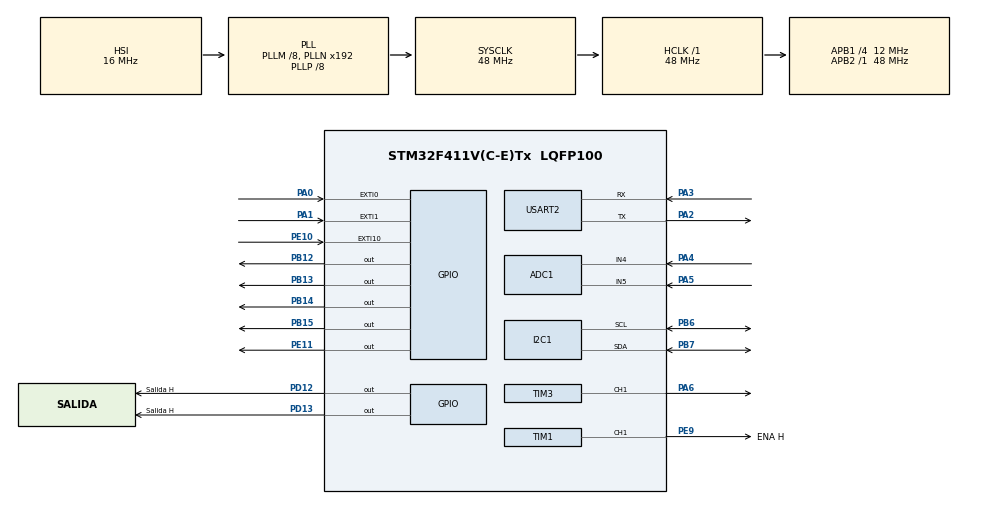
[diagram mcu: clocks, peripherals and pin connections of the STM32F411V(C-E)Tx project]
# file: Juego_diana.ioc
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ADC1.Channel-0\#ChannelRegularConversion=ADC_CHANNEL_4
ADC1.Channel-1\#ChannelRegularConversion=ADC_CHANNEL_5
ADC1.ContinuousConvMode=ENABLE
ADC1.DMAContinuousRequests=DISABLE
ADC1.NbrOfConversion=2
ADC1.NbrOfConversionFlag=1
ADC1.Rank-0\#ChannelRegularConversion=1
ADC1.Rank-1\#ChannelRegularConversion=2
ADC1.SamplingTime-0\#ChannelRegularConversion=ADC_SAMPLETIME_3CYCLES
ADC1.SamplingTime-1\#ChannelRegularConversion=ADC_SAMPLETIME_3CYCLES
ADC1.master=1
Dma.ADC1.0.Direction=DMA_PERIPH_TO_MEMORY
Dma.ADC1.0.FIFOMode=DMA_FIFOMODE_DISABLE
Dma.ADC1.0.Instance=DMA2_Stream0
Dma.ADC1.0.MemDataAlignment=DMA_MDATAALIGN_WORD
Dma.ADC1.0.MemInc=DMA_MINC_ENABLE
Dma.ADC1.0.Mode=DMA_CIRCULAR
Dma.ADC1.0.PeriphDataAlignment=DMA_PDATAALIGN_WORD
Dma.ADC1.0.PeriphInc=DMA_PINC_DISABLE
Dma.ADC1.0.Priority=DMA_PRIORITY_LOW
Dma.Request0=ADC1
Mcu.Family=STM32F4
Mcu.Name=STM32F411V(C-E)Tx
Mcu.Package=LQFP100
NVIC.DMA2_Stream0_IRQn=true\:0\:0\:false\:false\:true\:false\:true\:true
NVIC.EXTI0_IRQn=true\:0\:0\:false\:false\:true\:true\:true\:true
NVIC.EXTI15_10_IRQn=true\:0\:0\:false\:false\:true\:true\:true\:true
NVIC.EXTI1_IRQn=true\:0\:0\:false\:false\:true\:true\:true\:true
NVIC.PriorityGroup=NVIC_PRIORITYGROUP_0
PA0-WKUP.Signal=GPXTI0
PA1.GPIO_PuPd=GPIO_PULLUP
PA1.Signal=GPXTI1
PA2.Mode=Asynchronous
PA2.Signal=USART2_TX
PA3.Mode=Asynchronous
PA3.Signal=USART2_RX
PA4.Signal=ADCx_IN4
PA5.Signal=ADCx_IN5
PA6.Signal=S_TIM3_CH1
PB12.Signal=GPIO_Output
PB13.Signal=GPIO_Output
PB14.Signal=GPIO_Output
PB15.Signal=GPIO_Output
PB6.Mode=I2C
PB6.Signal=I2C1_SCL
PB7.Mode=I2C
PB7.Signal=I2C1_SDA
PD12.GPIO_Label=Salida H
PD12.Signal=GPIO_Output
PD13.GPIO_Label=Salida H
PD13.Signal=GPIO_Output
PE10.GPIO_ModeDefaultEXTI=GPIO_MODE_IT_RISING_FALLING
PE10.GPIO_PuPd=GPIO_PULLUP
PE10.Signal=GPXTI10
PE11.Signal=GPIO_Output
PE9.GPIO_Label=ENA H
PE9.Signal=S_TIM1_CH1
ProjectManager.HeapSize=0x200
ProjectManager.StackSize=0x400
ProjectManager.TargetToolchain=STM32CubeIDE
RCC.48MHZClocksFreq_Value=48000000
RCC.AHBFreq_Value=48000000
RCC.APB1CLKDivider=RCC_HCLK_DIV4
RCC.APB1Freq_Value=12000000
RCC.APB1TimFreq_Value=24000000
RCC.APB2Freq_Value=48000000
RCC.APB2TimFreq_Value=48000000
RCC.CortexFreq_Value=48000000
RCC.HCLKFreq_Value=48000000
RCC.HSE_VALUE=8000000
RCC.HSI_VALUE=16000000
RCC.LSE_VALUE=32768
RCC.PLLI2SM=5
RCC.PLLI2SN=200
RCC.PLLM=8
RCC.PLLP=RCC_PLLP_DIV8
RCC.PLLQ=8
RCC.SYSCLKFreq_VALUE=48000000
RCC.SYSCLKSource=RCC_SYSCLKSOURCE_PLLCLK
RCC.VCOOutputFreq_Value=384000000
SH.ADCx_IN4.0=ADC1_IN4,IN4
SH.ADCx_IN5.0=ADC1_IN5,IN5
SH.S_TIM1_CH1.0=TIM1_CH1,PWM Generation1 CH1
SH.S_TIM3_CH1.0=TIM3_CH1,PWM Generation1 CH1
TIM1.Channel-PWM\ Generation1\ CH1=TIM_CHANNEL_1
TIM1.Period=999
TIM1.Prescaler=47
TIM3.Channel-PWM\ Generation1\ CH1=TIM_CHANNEL_1
TIM3.Period=19999
TIM3.Prescaler=23
USART2.VirtualMode=VM_ASYNC
VP_TIM1_VS_ClockSourceINT.Mode=Internal
VP_TIM3_VS_ClockSourceINT.Mode=Internal
board=STM32F411E-DISCO

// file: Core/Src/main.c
/* USER CODE BEGIN Header */
/**
  ******************************************************************************
  * @file           : main.c
  * @brief          : Main program body
  ******************************************************************************
  * @attention
  *
  * Copyright (c) 2026 STMicroelectronics.
  * All rights reserved.
  *
  * This software is licensed under terms that can be found in the LICENSE file
  * in the root directory of this software component.
  * If no LICENSE file comes with this software, it is provided AS-IS.
  *
  ******************************************************************************
  */
/* USER CODE END Header */
#include "main.h"

/* USER CODE BEGIN Includes */
#include "i2c_lcd.h"
#include <stdio.h>
#include <string.h>

/* USER CODE END Includes */

/* USER CODE BEGIN PD */
#define SLAVE_ADDRESS_LCD 0x4E
#define TIMESUP_MS 5000
#define BRILLO_lim 1500 //cuando recibe luz del laser marca unos 150, en condiciones normales puede marcar entre 700 y 1400
#define NIVEL_MAX 3
#define PANTALLAS_S4 3

/* USER CODE END PD */

ADC_HandleTypeDef hadc1;
DMA_HandleTypeDef hdma_adc1;

I2C_HandleTypeDef hi2c1;

TIM_HandleTypeDef htim1;
TIM_HandleTypeDef htim3;

UART_HandleTypeDef huart2;

/* USER CODE BEGIN PV */

extern I2C_HandleTypeDef hi2c1;
extern ADC_HandleTypeDef hadc1;
extern TIM_HandleTypeDef htim1; // Puente H (Diana)
extern TIM_HandleTypeDef htim3; // Servo (Torreta)

typedef enum {
    S0, //"reposo"
    S1, //"inicio de juego. espera a un START"
	S2, //"3...2...1" y en caso de que antes se haya fallado o acertado manda mensaje
	S3,//"Motor". comienza a girar el motor?? y comienza también la cuenta atrás
	S4 //"Enhorabuena!"
} Estado_t;

typedef enum{
	Ninguno,
	Azul,
	Externo
} Botones_t;

Botones_t boton_pulsado;

volatile Estado_t estado_actual = S0; //volatile pq va variando
volatile int highscore=0; //puntuacion maxima

volatile uint32_t tiempo_inicio = 0;
volatile int paso_cuenta = 0;

volatile int fallo_acierto=0; //podra ser -1 (fallo), 0 (inicio) o 1 (acierto)

volatile uint32_t tiempo_inicio_motor = 0;
volatile uint8_t flag_motor_empieza = 0;

//valores para la parte de fotodiodo
volatile uint32_t valor_adc[2]; // [0] = LDR, [1] = Joystick
volatile uint32_t valor_ldr = 0;
volatile uint32_t valor_joystick = 0;
volatile uint8_t detectado = 0;

//variable para los niveles
volatile int nivel=0;

//variables para el highest score
volatile uint32_t tiempo_partida=0; //el tiempo actual de la partida
volatile uint32_t mejor_tiempo=1000000; //uno alto que se supere seguro
volatile int pantalla_final;

/* USER CODE END PV */

void SystemClock_Config(void);
static void MX_GPIO_Init(void);
static void MX_DMA_Init(void);
static void MX_I2C1_Init(void);
static void MX_ADC1_Init(void);
static void MX_TIM1_Init(void);
static void MX_USART2_UART_Init(void);
static void MX_TIM3_Init(void);
/* USER CODE BEGIN PFP */

void Cambio_de_Estados(Botones_t boton_pulsado);
void Reset_S1();
uint32_t Comparar_Tiempos();

/* USER CODE END PFP */

/* USER CODE BEGIN 0 */

void lcd_send_cmd (char cmd)
{
    char data_u, data_l;
    data_u = (cmd & 0xF0);           // extract upper 4 bits
    data_l = ((cmd << 4) & 0xF0);    // extract lower 4 bits

    uint8_t data_t[4];

    // send upper 4 bits with enable pulse
    data_t[0] = data_u | 0x0C;   // EN=1, RS=0  -> bxxxx1100
    data_t[1] = data_u | 0x08;   // EN=0, RS=0  -> bxxxx1000

    // send lower 4 bits with enable pulse
    data_t[2] = data_l | 0x0C;   // EN=1, RS=0  -> bxxxx1100
    data_t[3] = data_l | 0x08;   // EN=0, RS=0  -> bxxxx1000

    HAL_I2C_Master_Transmit(&hi2c1, SLAVE_ADDRESS_LCD, (uint8_t *) data_t, 4, 100);
}

void lcd_send_data (char data)
{
	char data_u, data_l;
	uint8_t data_t[4];
	data_u = (data&0xf0);
	data_l = ((data<<4)&0xf0);
	data_t[0] = data_u|0x0D;  //en=1, rs=1 -> bxxxx1101
	data_t[1] = data_u|0x09;  //en=0, rs=1 -> bxxxx1001
	data_t[2] = data_l|0x0D;  //en=1, rs=1 -> bxxxx1101
	data_t[3] = data_l|0x09;  //en=0, rs=1 -> bxxxx1001
	HAL_I2C_Master_Transmit (&hi2c1, SLAVE_ADDRESS_LCD,(uint8_t *) data_t, 4, 100);
}

void lcd_init (void)
{
  // 4 bit initialisation
  HAL_Delay(50);  // wait for >40ms
  lcd_send_cmd (0x30);
  HAL_Delay(5);  // wait for >4.1ms
  lcd_send_cmd (0x30);
  HAL_Delay(1);  // wait for >100us
  lcd_send_cmd (0x30);
  HAL_Delay(10);
  lcd_send_cmd (0x20);  // 4bit mode
  HAL_Delay(10);

  // display initialisation
  lcd_send_cmd (0x28); // Function set --> DL=0 (4 bit mode), N = 1 (2 line display) F = 0 (5x8 characters)
  HAL_Delay(1);
  lcd_send_cmd (0x08); //Display on/off control --> D=0,C=0, B=0  ---> display off
  HAL_Delay(1);
  lcd_send_cmd (0x01);  // clear display
  HAL_Delay(2);
  lcd_send_cmd (0x06); //Entry mode set --> I/D = 1 (increment cursor) & S = 0 (no shift)
  HAL_Delay(1);
  lcd_send_cmd (0x0C); //Display on/off control --> D = 1, C and B = 0. (Cursor and blink, last two bits)
}

void lcd_send_string (char *str)
{
  while (*str) lcd_send_data (*str++);
}

void lcd_put_cur(int row, int col)
{
    switch (row)
    {
        case 0:
            col |= 0x80;
            break;
        case 1:
            col |= 0xC0;
            break;
    }
    lcd_send_cmd (col);
}

void lcd_clear (void)
{
	lcd_send_cmd (0x01);
	HAL_Delay(2);
}

void HAL_GPIO_EXTI_Callback(uint16_t GPIO_Pin) {

	static uint32_t last_tick_azul = 0;
	static uint32_t last_tick_externo = 0;

	if (GPIO_Pin == GPIO_PIN_0) {
	        if (HAL_GetTick() - last_tick_azul > 250) { //antirrebote del boton
	        	Cambio_de_Estados(Azul);
	        	last_tick_azul = HAL_GetTick();
	        }
	}

	if (GPIO_Pin == GPIO_PIN_1) { //boton externo
		        if (HAL_GetTick() - last_tick_externo > 250) { //antirrebote del boton
		        	Cambio_de_Estados(Externo);
		        	last_tick_externo = HAL_GetTick();
		        }
		}

	if (GPIO_Pin == GPIO_PIN_10) {
		if (HAL_GPIO_ReadPin(GPIOE, GPIO_PIN_10) == GPIO_PIN_RESET) {
		            HAL_GPIO_WritePin(GPIOE, GPIO_PIN_11, GPIO_PIN_SET);   // Láser ON
		        } else {
		            HAL_GPIO_WritePin(GPIOE, GPIO_PIN_11, GPIO_PIN_RESET); // Láser OFF
		        }
	}
}

void Cambio_de_Estados(Botones_t boton_pulsado){

	switch(estado_actual){
	case S0:
		//cualquier boton llama al cambio
		estado_actual=S1;
		break;
	case S1:
		if(boton_pulsado == Externo) estado_actual=S2;
		break;
	case S2:
		if(boton_pulsado == Azul) estado_actual=S1;
		else if (boton_pulsado == Ninguno)estado_actual=S3;
		break;
	case S3:
		if(boton_pulsado == Azul) estado_actual=S1;
		else if(boton_pulsado == Ninguno && nivel == NIVEL_MAX) estado_actual= S4; //igual que o mayor que?
		else if(boton_pulsado == Ninguno) estado_actual =S2;
		break;
	case S4:
		if(boton_pulsado == Azul) estado_actual=S1;
		else if(boton_pulsado == Externo && pantalla_final <PANTALLAS_S4) pantalla_final ++;
		break;
	}
}

void Acciones_Estados(){

	//char buffer[20]; //la voy a borrar seguramente

	switch (estado_actual) {
		          case S0:
		              lcd_put_cur(0, 0);
		              lcd_send_string("apagado...");
		              lcd_put_cur(1, 0);
		              lcd_send_string("***");

		              break;

		          case S1:
		        	  lcd_put_cur(0,0);
		        	  lcd_send_string("*.*.*.Tiro.*.*.*");
		        	  lcd_put_cur(1,0);
		        	  lcd_send_string("*.*a la diana*.*");

		        	  break;
		          case S2:

		        	  if (paso_cuenta == 0) {
		        		  lcd_clear();
		        		  lcd_put_cur(0,0);

		        		  if(fallo_acierto==1) lcd_send_string("Acertaste!");
		        		  else if(fallo_acierto==-1) lcd_send_string("Fallaste!");
		        		  lcd_put_cur(1,0);
		        		  lcd_send_string("3...");
		        		  tiempo_inicio = HAL_GetTick();
		        		  paso_cuenta = 3;
		        	  }
		        	 if(HAL_GetTick() - tiempo_inicio >=1000){
		        		 tiempo_inicio= HAL_GetTick();
		        		 if (paso_cuenta == 3) {
		        			 lcd_send_string("2...");
		        			 tiempo_inicio = HAL_GetTick();
		        			 paso_cuenta = 2;
		        		 }
		        		 else if (paso_cuenta == 2) {
		        			 lcd_send_string("1...");
		        			 tiempo_inicio = HAL_GetTick();
		        			 paso_cuenta = 1;
		        			 HAL_GPIO_WritePin(GPIOD, GPIO_PIN_12, SET);   // IN1
		        			 HAL_GPIO_WritePin(GPIOD, GPIO_PIN_13, RESET); // IN2
		        			 HAL_GPIO_WritePin(GPIOB, GPIO_PIN_15, RESET);
		        			 if(nivel == 0){
		        			 __HAL_TIM_SET_COMPARE(&htim1, TIM_CHANNEL_1, 0);
		        			 HAL_GPIO_WritePin(GPIOB, GPIO_PIN_12, SET);
		        			 }
		        			 if(nivel == 1){
		        			 __HAL_TIM_SET_COMPARE(&htim1, TIM_CHANNEL_1, 300);
		        			 HAL_GPIO_WritePin(GPIOB, GPIO_PIN_12, SET);
		        			 HAL_GPIO_WritePin(GPIOB, GPIO_PIN_13, SET);
		        			 }
		        			 if(nivel == 2){
			        	     __HAL_TIM_SET_COMPARE(&htim1, TIM_CHANNEL_1, 800);
			        	     HAL_GPIO_WritePin(GPIOB, GPIO_PIN_12, SET);
			        	     HAL_GPIO_WritePin(GPIOB, GPIO_PIN_13, SET);
			        	   	 HAL_GPIO_WritePin(GPIOB, GPIO_PIN_14, SET);
		        			 }
		        		 }
		        		 else if (paso_cuenta == 1) {
		        			 lcd_clear();
		        			 paso_cuenta = 0;

		        			 //cambiar luego
		        			 Cambio_de_Estados(Ninguno);
		        		 }

		        	 }

		        	 break;

		          case S3:

		        	  if(flag_motor_empieza==0){
		        		  lcd_clear();
		        		  lcd_put_cur(0,0);
		        		  lcd_send_string("tiempo-------->");

		        		  tiempo_inicio_motor=HAL_GetTick();
		        		  flag_motor_empieza=1; // aqui o mejor en el anterior?

		        	  }

		        	  uint32_t tiempo = HAL_GetTick();
		        	  uint32_t transcurrido = tiempo - tiempo_inicio_motor;
		        	  if(transcurrido < TIMESUP_MS){
		        		  char buf[10];
		        		  uint32_t segundos_restantes = (TIMESUP_MS - transcurrido) / 1000;
		        		  lcd_put_cur(1, 0);
		        		  sprintf(buf, "%lu s  ", (segundos_restantes+1));
		        		  lcd_send_string(buf);

		        		  //acierto en la diana
		        		  if(valor_ldr < BRILLO_lim){
		        			  detectado =1;
		        			  fallo_acierto = 1;
		        			  flag_motor_empieza=0;
		        			  fallo_acierto=1;
		        			  tiempo_partida += transcurrido;
		        			  nivel++;
		        			  HAL_GPIO_WritePin(GPIOD, GPIO_PIN_12, RESET);
		                 	  HAL_GPIO_WritePin(GPIOD, GPIO_PIN_13, RESET);
		        			  Cambio_de_Estados(Ninguno);
		        		  }

		        	  }
		        	  else {
		        		  flag_motor_empieza = 0;
		        		  fallo_acierto=-1;
		        		  tiempo_partida += transcurrido;
		        		  nivel=0; //que se reinicie cuando falles que si no es muy facil
		        		  HAL_GPIO_WritePin(GPIOD, GPIO_PIN_12, RESET);
		        		  HAL_GPIO_WritePin(GPIOD, GPIO_PIN_13, RESET);

		        		  HAL_GPIO_WritePin(GPIOB, GPIO_PIN_15, SET);
		        		  HAL_GPIO_WritePin(GPIOB, GPIO_PIN_12, RESET);
		        		  HAL_GPIO_WritePin(GPIOB, GPIO_PIN_13, RESET);
		        		  HAL_GPIO_WritePin(GPIOB, GPIO_PIN_14, RESET);
		        		  Cambio_de_Estados(Ninguno);
		        	  }

		        	  break;
		          case S4:
		        	  char puntuacion[16];
		        	  char mejor_puntuacion[16];
		        	  float t_partida = (float)tiempo_partida/1000.0f;
		        	  float mejor_t = (float)mejor_tiempo/1000.0f;
		        	  sprintf(puntuacion, "Tiempo: %.1fs   ", t_partida);
		        	  sprintf(mejor_puntuacion, "Record: %.1fs   ", mejor_t);

		        	  switch(pantalla_final){

		        	  case 0:
		        		  lcd_put_cur(0,0);
		        		  lcd_send_string("*.*.*.*.*.*.*.*");
		        		  lcd_put_cur(1,0);
		        		  lcd_send_string("--ENHORABUENA--");
		        		  break;
		        	  case 1:
		        		  lcd_put_cur(0,0);
		        		  lcd_send_string("--ENHORABUENA--");
		        		  lcd_put_cur(1,0);
		        		  lcd_send_string(puntuacion);
		        		  break;
		        	  case 2:
		        		  lcd_put_cur(0,0);
		        		  lcd_send_string(puntuacion);
		        		  lcd_put_cur(1,0);
		        		  lcd_send_string(mejor_puntuacion);
		        		  break;

		        	  break;

		        	  }

		      }
}

void Reset_S1(){
	//en S1 se hace una limpieza de los valores de las variables
	paso_cuenta=0;
	fallo_acierto=0;
	detectado=0;
	nivel=0;
	flag_motor_empieza=0;
	tiempo_partida=0;
	pantalla_final=0;
	__HAL_TIM_SET_COMPARE(&htim1, TIM_CHANNEL_1, 0);
	HAL_GPIO_WritePin(GPIOD, GPIO_PIN_12, RESET);
	HAL_GPIO_WritePin(GPIOD, GPIO_PIN_13, RESET);

	// Apagar todos los LEDs
	    HAL_GPIO_WritePin(GPIOB, GPIO_PIN_12, RESET); // Verde 1
	    HAL_GPIO_WritePin(GPIOB, GPIO_PIN_13, RESET); // Verde 2
	    HAL_GPIO_WritePin(GPIOB, GPIO_PIN_14, RESET); // Verde 3
	    HAL_GPIO_WritePin(GPIOB, GPIO_PIN_15, RESET); // Rojo
}

uint32_t Comparar_Tiempos(){

	if(tiempo_partida < mejor_tiempo)
		mejor_tiempo= tiempo_partida;

	return mejor_tiempo;
}

/* USER CODE END 0 */

int main(void)
{

  /* MCU Configuration--------------------------------------------------------*/

  /* Reset of all peripherals, Initializes the Flash interface and the Systick. */
  HAL_Init();

  /* Configure the system clock */
  SystemClock_Config();

  /* Initialize all configured peripherals */
  MX_GPIO_Init();
  MX_DMA_Init();
  MX_I2C1_Init();
  MX_ADC1_Init();
  MX_TIM1_Init();
  MX_USART2_UART_Init();
  MX_TIM3_Init();
  /* USER CODE BEGIN 2 */

  HAL_ADC_Stop_DMA(&hadc1);//fuerzo parada por si habia bloqueos
  HAL_TIM_PWM_Start(&htim1, TIM_CHANNEL_1); // Motor Diana
  HAL_TIM_PWM_Start(&htim3, TIM_CHANNEL_1); // Servo Torreta Laser
  //arranco el adc en modo dma para que apunte al valor medido
  if (HAL_ADC_Start_DMA(&hadc1, (uint32_t*)&valor_adc, 2) != HAL_OK){
	  Error_Handler();
  }

  // Iniciar lcd
  lcd_init ();
  lcd_clear();
  static Estado_t estado_anterior = -1; //es -1 para que no valga ninguno de mis estados

  /* USER CODE END 2 */

  /* Infinite loop */
  while (1)
  {

    /* USER CODE BEGIN 3 */

	  //anti bloqueo del adc
	  if (__HAL_ADC_GET_FLAG(&hadc1, ADC_FLAG_OVR)) {
	            __HAL_ADC_CLEAR_FLAG(&hadc1, ADC_FLAG_OVR);
	            HAL_ADC_Stop_DMA(&hadc1);
	            HAL_ADC_Start_DMA(&hadc1, (uint32_t*)&valor_adc, 2);
	        }

	  valor_ldr = valor_adc[0];      // Rank 1: LDR (Diana)
	  valor_joystick = valor_adc[1]; // Rank 2: Joystick
	  //printf("LDR: %lu | Joystick: %lu\r\n", valor_ldr, valor_joystick);
	  uint32_t pwm_servo = 500 + ((valor_joystick * 2000) / 4095);
	  __HAL_TIM_SET_COMPARE(&htim3, TIM_CHANNEL_1, pwm_servo);

	  if (estado_actual != estado_anterior) {
	      lcd_clear();//para limpiar la pantalla

	      if(estado_actual == S1) Reset_S1(); //lo llamo desde aqui
	      if (estado_actual == S2) paso_cuenta = 0;

	      if(estado_actual == S4) Comparar_Tiempos();

	      estado_anterior = estado_actual;
	  }

      Acciones_Estados();

      HAL_Delay(20); //maybe lo cambiare

  }
  /* USER CODE END 3 */
}

void SystemClock_Config(void)
{
  RCC_OscInitTypeDef RCC_OscInitStruct = {0};
  RCC_ClkInitTypeDef RCC_ClkInitStruct = {0};

  /** Configure the main internal regulator output voltage
  */
  __HAL_RCC_PWR_CLK_ENABLE();
  __HAL_PWR_VOLTAGESCALING_CONFIG(PWR_REGULATOR_VOLTAGE_SCALE1);

  /** Initializes the RCC Oscillators according to the specified parameters
  * in the RCC_OscInitTypeDef structure.
  */
  RCC_OscInitStruct.OscillatorType = RCC_OSCILLATORTYPE_HSI;
  RCC_OscInitStruct.HSIState = RCC_HSI_ON;
  RCC_OscInitStruct.HSICalibrationValue = RCC_HSICALIBRATION_DEFAULT;
  RCC_OscInitStruct.PLL.PLLState = RCC_PLL_ON;
  RCC_OscInitStruct.PLL.PLLSource = RCC_PLLSOURCE_HSI;
  RCC_OscInitStruct.PLL.PLLM = 8;
  RCC_OscInitStruct.PLL.PLLN = 192;
  RCC_OscInitStruct.PLL.PLLP = RCC_PLLP_DIV8;
  RCC_OscInitStruct.PLL.PLLQ = 8;
  if (HAL_RCC_OscConfig(&RCC_OscInitStruct) != HAL_OK)
  {
    Error_Handler();
  }

  /** Initializes the CPU, AHB and APB buses clocks
  */
  RCC_ClkInitStruct.ClockType = RCC_CLOCKTYPE_HCLK|RCC_CLOCKTYPE_SYSCLK
                              |RCC_CLOCKTYPE_PCLK1|RCC_CLOCKTYPE_PCLK2;
  RCC_ClkInitStruct.SYSCLKSource = RCC_SYSCLKSOURCE_PLLCLK;
  RCC_ClkInitStruct.AHBCLKDivider = RCC_SYSCLK_DIV1;
  RCC_ClkInitStruct.APB1CLKDivider = RCC_HCLK_DIV4;
  RCC_ClkInitStruct.APB2CLKDivider = RCC_HCLK_DIV1;

  if (HAL_RCC_ClockConfig(&RCC_ClkInitStruct, FLASH_LATENCY_1) != HAL_OK)
  {
    Error_Handler();
  }
}

static void MX_ADC1_Init(void)
{

  ADC_ChannelConfTypeDef sConfig = {0};

  /** Configure the global features of the ADC (Clock, Resolution, Data Alignment and number of conversion)
  */
  hadc1.Instance = ADC1;
  hadc1.Init.ClockPrescaler = ADC_CLOCK_SYNC_PCLK_DIV2;
  hadc1.Init.Resolution = ADC_RESOLUTION_12B;
  hadc1.Init.ScanConvMode = ENABLE;
  hadc1.Init.ContinuousConvMode = ENABLE;
  hadc1.Init.DiscontinuousConvMode = DISABLE;
  hadc1.Init.ExternalTrigConvEdge = ADC_EXTERNALTRIGCONVEDGE_NONE;
  hadc1.Init.ExternalTrigConv = ADC_SOFTWARE_START;
  hadc1.Init.DataAlign = ADC_DATAALIGN_RIGHT;
  hadc1.Init.NbrOfConversion = 2;
  hadc1.Init.DMAContinuousRequests = DISABLE;
  hadc1.Init.EOCSelection = ADC_EOC_SINGLE_CONV;
  if (HAL_ADC_Init(&hadc1) != HAL_OK)
  {
    Error_Handler();
  }

  /** Configure for the selected ADC regular channel its corresponding rank in the sequencer and its sample time.
  */
  sConfig.Channel = ADC_CHANNEL_4;
  sConfig.Rank = 1;
  sConfig.SamplingTime = ADC_SAMPLETIME_3CYCLES;
  if (HAL_ADC_ConfigChannel(&hadc1, &sConfig) != HAL_OK)
  {
    Error_Handler();
  }

  /** Configure for the selected ADC regular channel its corresponding rank in the sequencer and its sample time.
  */
  sConfig.Channel = ADC_CHANNEL_5;
  sConfig.Rank = 2;
  if (HAL_ADC_ConfigChannel(&hadc1, &sConfig) != HAL_OK)
  {
    Error_Handler();
  }

}

static void MX_I2C1_Init(void)
{

  hi2c1.Instance = I2C1;
  hi2c1.Init.ClockSpeed = 100000;
  hi2c1.Init.DutyCycle = I2C_DUTYCYCLE_2;
  hi2c1.Init.OwnAddress1 = 0;
  hi2c1.Init.AddressingMode = I2C_ADDRESSINGMODE_7BIT;
  hi2c1.Init.DualAddressMode = I2C_DUALADDRESS_DISABLE;
  hi2c1.Init.OwnAddress2 = 0;
  hi2c1.Init.GeneralCallMode = I2C_GENERALCALL_DISABLE;
  hi2c1.Init.NoStretchMode = I2C_NOSTRETCH_DISABLE;
  if (HAL_I2C_Init(&hi2c1) != HAL_OK)
  {
    Error_Handler();
  }

}

static void MX_TIM1_Init(void)
{

  TIM_ClockConfigTypeDef sClockSourceConfig = {0};
  TIM_MasterConfigTypeDef sMasterConfig = {0};
  TIM_OC_InitTypeDef sConfigOC = {0};
  TIM_BreakDeadTimeConfigTypeDef sBreakDeadTimeConfig = {0};

  htim1.Instance = TIM1;
  htim1.Init.Prescaler = 47;
  htim1.Init.CounterMode = TIM_COUNTERMODE_UP;
  htim1.Init.Period = 999;
  htim1.Init.ClockDivision = TIM_CLOCKDIVISION_DIV1;
  htim1.Init.RepetitionCounter = 0;
  htim1.Init.AutoReloadPreload = TIM_AUTORELOAD_PRELOAD_DISABLE;
  if (HAL_TIM_Base_Init(&htim1) != HAL_OK)
  {
    Error_Handler();
  }
  sClockSourceConfig.ClockSource = TIM_CLOCKSOURCE_INTERNAL;
  if (HAL_TIM_ConfigClockSource(&htim1, &sClockSourceConfig) != HAL_OK)
  {
    Error_Handler();
  }
  if (HAL_TIM_PWM_Init(&htim1) != HAL_OK)
  {
    Error_Handler();
  }
  sMasterConfig.MasterOutputTrigger = TIM_TRGO_RESET;
  sMasterConfig.MasterSlaveMode = TIM_MASTERSLAVEMODE_DISABLE;
  if (HAL_TIMEx_MasterConfigSynchronization(&htim1, &sMasterConfig) != HAL_OK)
  {
    Error_Handler();
  }
  sConfigOC.OCMode = TIM_OCMODE_PWM1;
  sConfigOC.Pulse = 0;
  sConfigOC.OCPolarity = TIM_OCPOLARITY_HIGH;
  sConfigOC.OCNPolarity = TIM_OCNPOLARITY_HIGH;
  sConfigOC.OCFastMode = TIM_OCFAST_DISABLE;
  sConfigOC.OCIdleState = TIM_OCIDLESTATE_RESET;
  sConfigOC.OCNIdleState = TIM_OCNIDLESTATE_RESET;
  if (HAL_TIM_PWM_ConfigChannel(&htim1, &sConfigOC, TIM_CHANNEL_1) != HAL_OK)
  {
    Error_Handler();
  }
  sBreakDeadTimeConfig.OffStateRunMode = TIM_OSSR_DISABLE;
  sBreakDeadTimeConfig.OffStateIDLEMode = TIM_OSSI_DISABLE;
  sBreakDeadTimeConfig.LockLevel = TIM_LOCKLEVEL_OFF;
  sBreakDeadTimeConfig.DeadTime = 0;
  sBreakDeadTimeConfig.BreakState = TIM_BREAK_DISABLE;
  sBreakDeadTimeConfig.BreakPolarity = TIM_BREAKPOLARITY_HIGH;
  sBreakDeadTimeConfig.AutomaticOutput = TIM_AUTOMATICOUTPUT_DISABLE;
  if (HAL_TIMEx_ConfigBreakDeadTime(&htim1, &sBreakDeadTimeConfig) != HAL_OK)
  {
    Error_Handler();
  }
  HAL_TIM_MspPostInit(&htim1);

}

static void MX_TIM3_Init(void)
{

  TIM_ClockConfigTypeDef sClockSourceConfig = {0};
  TIM_MasterConfigTypeDef sMasterConfig = {0};
  TIM_OC_InitTypeDef sConfigOC = {0};

  htim3.Instance = TIM3;
  htim3.Init.Prescaler = 23;
  htim3.Init.CounterMode = TIM_COUNTERMODE_UP;
  htim3.Init.Period = 19999;
  htim3.Init.ClockDivision = TIM_CLOCKDIVISION_DIV1;
  htim3.Init.AutoReloadPreload = TIM_AUTORELOAD_PRELOAD_DISABLE;
  if (HAL_TIM_Base_Init(&htim3) != HAL_OK)
  {
    Error_Handler();
  }
  sClockSourceConfig.ClockSource = TIM_CLOCKSOURCE_INTERNAL;
  if (HAL_TIM_ConfigClockSource(&htim3, &sClockSourceConfig) != HAL_OK)
  {
    Error_Handler();
  }
  if (HAL_TIM_PWM_Init(&htim3) != HAL_OK)
  {
    Error_Handler();
  }
  sMasterConfig.MasterOutputTrigger = TIM_TRGO_RESET;
  sMasterConfig.MasterSlaveMode = TIM_MASTERSLAVEMODE_DISABLE;
  if (HAL_TIMEx_MasterConfigSynchronization(&htim3, &sMasterConfig) != HAL_OK)
  {
    Error_Handler();
  }
  sConfigOC.OCMode = TIM_OCMODE_PWM1;
  sConfigOC.Pulse = 0;
  sConfigOC.OCPolarity = TIM_OCPOLARITY_HIGH;
  sConfigOC.OCFastMode = TIM_OCFAST_DISABLE;
  if (HAL_TIM_PWM_ConfigChannel(&htim3, &sConfigOC, TIM_CHANNEL_1) != HAL_OK)
  {
    Error_Handler();
  }
  HAL_TIM_MspPostInit(&htim3);

}

static void MX_USART2_UART_Init(void)
{

  huart2.Instance = USART2;
  huart2.Init.BaudRate = 115200;
  huart2.Init.WordLength = UART_WORDLENGTH_8B;
  huart2.Init.StopBits = UART_STOPBITS_1;
  huart2.Init.Parity = UART_PARITY_NONE;
  huart2.Init.Mode = UART_MODE_TX_RX;
  huart2.Init.HwFlowCtl = UART_HWCONTROL_NONE;
  huart2.Init.OverSampling = UART_OVERSAMPLING_16;
  if (HAL_UART_Init(&huart2) != HAL_OK)
  {
    Error_Handler();
  }

}

static void MX_DMA_Init(void)
{

  /* DMA controller clock enable */
  __HAL_RCC_DMA2_CLK_ENABLE();

  /* DMA interrupt init */
  /* DMA2_Stream0_IRQn interrupt configuration */
  HAL_NVIC_SetPriority(DMA2_Stream0_IRQn, 0, 0);
  HAL_NVIC_EnableIRQ(DMA2_Stream0_IRQn);

}

static void MX_GPIO_Init(void)
{
  GPIO_InitTypeDef GPIO_InitStruct = {0};

  /* GPIO Ports Clock Enable */
  __HAL_RCC_GPIOA_CLK_ENABLE();
  __HAL_RCC_GPIOE_CLK_ENABLE();
  __HAL_RCC_GPIOB_CLK_ENABLE();
  __HAL_RCC_GPIOD_CLK_ENABLE();

  /*Configure GPIO pin Output Level */
  HAL_GPIO_WritePin(GPIOE, GPIO_PIN_11, GPIO_PIN_RESET);

  /*Configure GPIO pin Output Level */
  HAL_GPIO_WritePin(GPIOB, GPIO_PIN_12|GPIO_PIN_13|GPIO_PIN_14|GPIO_PIN_15, GPIO_PIN_RESET);

  /*Configure GPIO pin Output Level */
  HAL_GPIO_WritePin(GPIOD, Salida_H_Pin|Salida_HD13_Pin, GPIO_PIN_RESET);

  /*Configure GPIO pin : PA0 */
  GPIO_InitStruct.Pin = GPIO_PIN_0;
  GPIO_InitStruct.Mode = GPIO_MODE_IT_RISING;
  GPIO_InitStruct.Pull = GPIO_NOPULL;
  HAL_GPIO_Init(GPIOA, &GPIO_InitStruct);

  /*Configure GPIO pin : PA1 */
  GPIO_InitStruct.Pin = GPIO_PIN_1;
  GPIO_InitStruct.Mode = GPIO_MODE_IT_RISING;
  GPIO_InitStruct.Pull = GPIO_PULLUP;
  HAL_GPIO_Init(GPIOA, &GPIO_InitStruct);

  /*Configure GPIO pin : PE10 */
  GPIO_InitStruct.Pin = GPIO_PIN_10;
  GPIO_InitStruct.Mode = GPIO_MODE_IT_RISING_FALLING;
  GPIO_InitStruct.Pull = GPIO_PULLUP;
  HAL_GPIO_Init(GPIOE, &GPIO_InitStruct);

  /*Configure GPIO pin : PE11 */
  GPIO_InitStruct.Pin = GPIO_PIN_11;
  GPIO_InitStruct.Mode = GPIO_MODE_OUTPUT_PP;
  GPIO_InitStruct.Pull = GPIO_NOPULL;
  GPIO_InitStruct.Speed = GPIO_SPEED_FREQ_LOW;
  HAL_GPIO_Init(GPIOE, &GPIO_InitStruct);

  /*Configure GPIO pins : PB12 PB13 PB14 PB15 */
  GPIO_InitStruct.Pin = GPIO_PIN_12|GPIO_PIN_13|GPIO_PIN_14|GPIO_PIN_15;
  GPIO_InitStruct.Mode = GPIO_MODE_OUTPUT_PP;
  GPIO_InitStruct.Pull = GPIO_NOPULL;
  GPIO_InitStruct.Speed = GPIO_SPEED_FREQ_LOW;
  HAL_GPIO_Init(GPIOB, &GPIO_InitStruct);

  /*Configure GPIO pins : Salida_H_Pin Salida_HD13_Pin */
  GPIO_InitStruct.Pin = Salida_H_Pin|Salida_HD13_Pin;
  GPIO_InitStruct.Mode = GPIO_MODE_OUTPUT_PP;
  GPIO_InitStruct.Pull = GPIO_NOPULL;
  GPIO_InitStruct.Speed = GPIO_SPEED_FREQ_LOW;
  HAL_GPIO_Init(GPIOD, &GPIO_InitStruct);

  /* EXTI interrupt init*/
  HAL_NVIC_SetPriority(EXTI0_IRQn, 0, 0);
  HAL_NVIC_EnableIRQ(EXTI0_IRQn);

  HAL_NVIC_SetPriority(EXTI1_IRQn, 0, 0);
  HAL_NVIC_EnableIRQ(EXTI1_IRQn);

  HAL_NVIC_SetPriority(EXTI15_10_IRQn, 0, 0);
  HAL_NVIC_EnableIRQ(EXTI15_10_IRQn);

}

void Error_Handler(void)
{
  __disable_irq();
  while (1)
  {
  }
}
